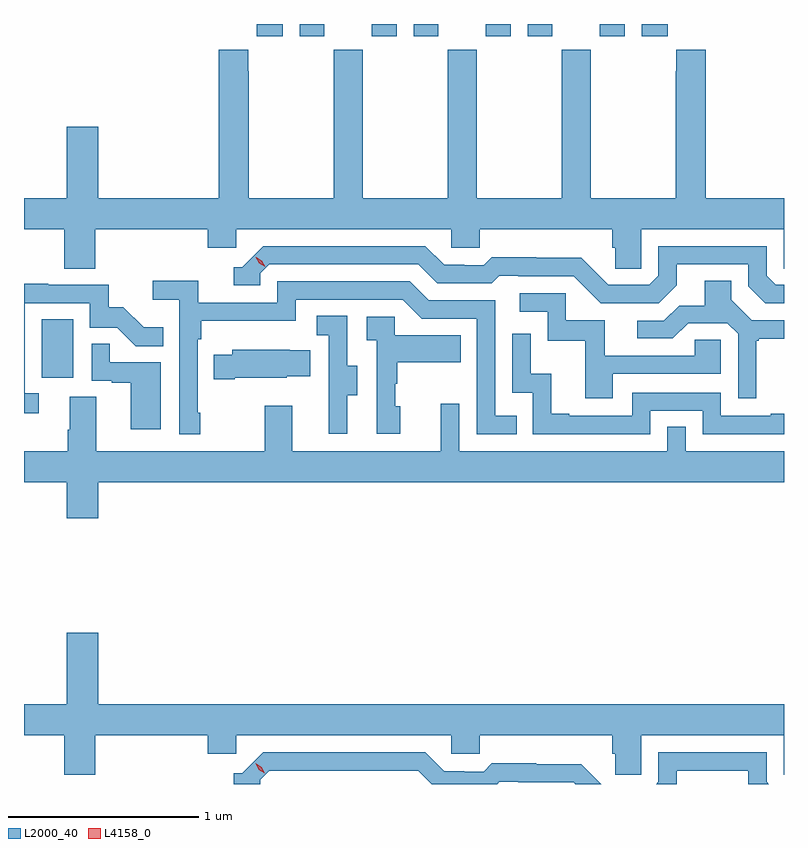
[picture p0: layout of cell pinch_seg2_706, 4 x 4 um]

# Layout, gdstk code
import gdstk
lib = gdstk.Library(unit=1e-6, precision=1e-09)
def R(c, l, rs):  # rectangles x0, y0, x1, y1
    for r in rs: c.add(gdstk.rectangle(r[:2], r[2:], *l))
def P(c, l, *ps):  # polygons
    for p in ps: c.add(gdstk.Polygon(p, *l))
L2000_40 = (2000, 40)
L4158_0 = (4158, 0)

pinch_seg2_706 = lib.new_cell('pinch_seg2_706')
R(pinch_seg2_706, L2000_40, [(1141.898,590.91,1142.062,591.217), (1143.029,592.707,1143.166,592.772), (1143.254,592.707,1143.385,592.772), (1143.635,592.707,1143.766,592.772), (1143.854,592.707,1143.985,592.772), (1144.235,592.707,1144.366,592.772), (1144.454,592.707,1144.585,592.772), (1144.835,592.707,1144.966,592.772), (1145.054,592.707,1145.191,592.772)])
P(pinch_seg2_706, L2000_40, [(1142.18,591.692),(1142.771,591.692),(1142.771,591.594),(1142.922,591.594),(1142.922,591.692),(1144.053,591.692),(1144.053,591.594),(1144.203,591.594),(1144.203,591.692),(1144.901,591.692),(1144.901,591.594),(1144.915,591.594),(1144.915,591.484),(1145.052,591.484),(1145.052,591.692),(1145.802,591.692),(1145.802,591.484),(1145.804,591.484),(1145.804,591.856),(1145.393,591.856),(1145.393,592.636),(1145.237,592.636),(1145.237,592.523),(1145.233,592.523),(1145.233,591.856),(1144.788,591.856),(1144.788,592.636),(1144.633,592.636),(1144.633,591.856),(1144.188,591.856),(1144.188,592.636),(1144.033,592.636),(1144.033,591.856),(1143.588,591.856),(1143.588,592.636),(1143.433,592.636),(1143.433,591.856),(1142.988,591.856),(1142.988,592.523),(1142.983,592.523),(1142.983,592.636),(1142.828,592.636),(1142.828,591.856),(1142.194,591.856),(1142.194,592.231),(1142.03,592.231),(1142.03,591.856),(1141.804,591.856),(1141.804,591.692),(1142.015,591.692),(1142.015,591.484),(1142.18,591.484)],
  [(1145.239,591.397),(1145.239,591.507),(1145.616,591.507),(1145.616,591.393),(1145.706,591.303),(1145.804,591.303),(1145.804,591.399),(1145.76,591.399),(1145.712,591.447),(1145.712,591.603),(1145.142,591.603),(1145.142,591.447),(1145.094,591.399),(1144.878,591.399),(1144.736,591.541),(1144.5,591.541),(1144.5,591.544),(1144.267,591.544),(1144.225,591.501),(1144.122,591.501),(1144.122,591.504),(1144.015,591.504),(1143.916,591.603),(1143.063,591.603),(1142.952,591.492),(1142.909,591.492),(1142.909,591.396),(1143.048,591.396),(1143.048,591.459),(1143.096,591.507),(1143.879,591.507),(1143.978,591.408),(1144.267,591.408),(1144.306,591.447),(1144.405,591.447),(1144.405,591.444),(1144.698,591.444),(1144.839,591.303),(1145.145,591.303)],
  [(1142.731,590.725),(1142.718,590.725),(1142.718,591.113),(1142.738,591.113),(1142.738,591.209),(1143.234,591.209),(1143.234,591.321),(1143.798,591.321),(1143.897,591.222),(1144.188,591.222),(1144.188,590.613),(1144.397,590.613),(1144.397,590.709),(1144.284,590.709),(1144.284,591.318),(1143.934,591.318),(1143.835,591.417),(1143.138,591.417),(1143.138,591.306),(1142.72,591.306),(1142.72,591.422),(1142.481,591.422),(1142.481,591.32),(1142.622,591.32),(1142.622,590.613),(1142.731,590.613)],
  [(1145.659,591.105),(1145.671,591.105),(1145.671,591.116),(1145.804,591.116),(1145.804,591.213),(1145.634,591.213),(1145.527,591.32),(1145.527,591.422),(1145.387,591.422),(1145.387,591.29),(1145.252,591.29),(1145.172,591.21),(1145.031,591.21),(1145.031,591.117),(1145.218,591.117),(1145.299,591.198),(1145.505,591.198),(1145.562,591.141),(1145.562,590.802),(1145.659,590.802)],
  [(1141.882,590.829),(1141.809,590.829),(1141.809,591.303),(1142.151,591.303),(1142.151,591.174),(1142.295,591.174),(1142.393,591.076),(1142.537,591.076),(1142.537,591.175),(1142.433,591.175),(1142.326,591.282),(1142.25,591.282),(1142.25,591.399),(1141.931,591.399),(1141.931,591.404),(1141.804,591.404),(1141.804,590.724),(1141.882,590.724)],
  [(1144.903,590.931),(1145.472,590.931),(1145.472,591.111),(1145.335,591.111),(1145.335,591.027),(1144.861,591.027),(1144.861,591.213),(1144.656,591.213),(1144.656,591.354),(1144.413,591.354),(1144.413,591.258),(1144.56,591.258),(1144.56,591.105),(1144.759,591.105),(1144.759,590.802),(1144.903,590.802)],
  [(1143.505,590.818),(1143.559,590.818),(1143.559,590.973),(1143.504,590.973),(1143.504,591.236),(1143.345,591.236),(1143.345,591.133),(1143.408,591.133),(1143.408,590.829),(1143.407,590.829),(1143.407,590.616),(1143.505,590.616)],
  [(1143.784,590.76),(1143.759,590.76),(1143.759,590.879),(1143.769,590.879),(1143.769,590.993),(1144.103,590.993),(1144.103,591.133),(1143.756,591.133),(1143.756,591.231),(1143.609,591.231),(1143.609,591.107),(1143.66,591.107),(1143.66,590.616),(1143.784,590.616)],
  [(1145.1,590.736),(1145.376,590.736),(1145.376,590.613),(1145.804,590.613),(1145.804,590.722),(1145.735,590.722),(1145.735,590.709),(1145.472,590.709),(1145.472,590.832),(1145.004,590.832),(1145.004,590.709),(1144.675,590.709),(1144.675,590.722),(1144.58,590.722),(1144.58,590.93),(1144.47,590.93),(1144.47,591.142),(1144.374,591.142),(1144.374,590.832),(1144.482,590.832),(1144.482,590.613),(1145.1,590.613)],
  [(1142.524,590.991),(1142.255,590.991),(1142.255,591.089),(1142.16,591.089),(1142.16,590.895),(1142.267,590.895),(1142.267,590.883),(1142.366,590.883),(1142.366,590.64),(1142.524,590.64)],
  [(1142.914,590.909),(1143.186,590.909),(1143.186,590.918),(1143.311,590.918),(1143.311,591.055),(1143.203,591.055),(1143.203,591.058),(1142.901,591.058),(1142.901,591.031),(1142.803,591.031),(1142.803,590.902),(1142.914,590.902)],
  [(1142.194,590.36),(1145.804,590.36),(1145.804,590.524),(1145.286,590.524),(1145.286,590.651),(1145.19,590.651),(1145.19,590.524),(1144.095,590.524),(1144.095,590.773),(1143.998,590.773),(1143.998,590.524),(1143.217,590.524),(1143.217,590.764),(1143.07,590.764),(1143.07,590.524),(1142.185,590.524),(1142.185,590.81),(1142.045,590.81),(1142.045,590.636),(1142.033,590.636),(1142.033,590.524),(1141.804,590.524),(1141.804,590.36),(1142.03,590.36),(1142.03,590.172),(1142.194,590.172)],
  [(1142.18,589.028),(1142.771,589.028),(1142.771,588.93),(1142.922,588.93),(1142.922,589.028),(1144.053,589.028),(1144.053,588.93),(1144.203,588.93),(1144.203,589.028),(1144.901,589.028),(1144.901,588.93),(1144.915,588.93),(1144.915,588.82),(1145.052,588.82),(1145.052,589.028),(1145.802,589.028),(1145.802,588.82),(1145.804,588.82),(1145.804,589.192),(1142.194,589.192),(1142.194,589.567),(1142.03,589.567),(1142.03,589.192),(1141.804,589.192),(1141.804,589.028),(1142.015,589.028),(1142.015,588.82),(1142.18,588.82)],
  [(1145.239,588.843),(1145.616,588.843),(1145.616,588.772),(1145.723,588.772),(1145.712,588.783),(1145.712,588.939),(1145.142,588.939),(1145.142,588.783),(1145.131,588.772),(1145.239,588.772)],
  [(1143.048,588.795),(1143.096,588.843),(1143.879,588.843),(1143.95,588.772),(1144.295,588.772),(1144.306,588.783),(1144.405,588.783),(1144.405,588.78),(1144.698,588.78),(1144.706,588.772),(1144.841,588.772),(1144.736,588.877),(1144.5,588.877),(1144.5,588.88),(1144.267,588.88),(1144.225,588.837),(1144.122,588.837),(1144.122,588.84),(1144.015,588.84),(1143.916,588.939),(1143.063,588.939),(1142.952,588.828),(1142.909,588.828),(1142.909,588.772),(1143.048,588.772)])
P(pinch_seg2_706, L4158_0, [(1143.071,588.828),(1143.04,588.848),(1143.024,588.88),(1143.024,588.881),(1143.025,588.881),(1143.055,588.861),(1143.072,588.829),(1143.072,588.828)],
  [(1143.073,591.494),(1143.042,591.513),(1143.025,591.545),(1143.025,591.545),(1143.026,591.545),(1143.056,591.527),(1143.073,591.495),(1143.073,591.494)])

lib.write_gds('pinch_seg2_706.gds')
